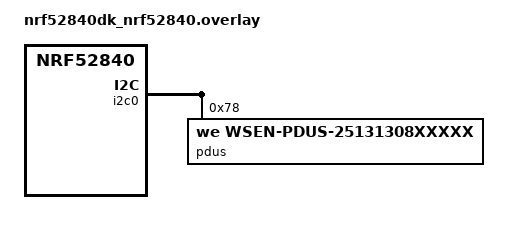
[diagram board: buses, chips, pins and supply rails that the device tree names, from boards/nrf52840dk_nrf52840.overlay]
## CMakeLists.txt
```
# SPDX-License-Identifier: Apache-2.0

cmake_minimum_required(VERSION 3.20.0)
find_package(Zephyr REQUIRED HINTS $ENV{ZEPHYR_BASE})
project(wsen_pdus_25131308XXX01)

target_sources(app PRIVATE src/main.c)
```

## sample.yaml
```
sample:
  name: WSEN-PDUS-25131308XXXXX Sensor Sample
tests:
  sample.sensor.wsen-PDUS-25131308XXXXX:
    harness: sensor
    tags: sensors
    depends_on: i2c gpio
    filter: dt_compat_enabled("we,wsen-pdus-25131308XXXXX")
```

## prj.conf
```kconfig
CONFIG_PRINTK=y
CONFIG_I2C=y
CONFIG_SENSOR=y
CONFIG_CBPRINTF_FP_SUPPORT=y

CONFIG_LOG=y
CONFIG_LOG_MODE_MINIMAL=y
CONFIG_ASSERT=y
```

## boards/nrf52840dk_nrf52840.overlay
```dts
&i2c0 {
	pdus:pdus-25131308XXXXX@78 {
		compatible = "we,wsen-pdus-25131308XXXXX";
		reg = < 0x78 >;
		sensor-type = < 4 >;
	};
};
```

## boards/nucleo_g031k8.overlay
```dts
&i2c1 {
	pdus:pdus-25131308XXXXX@78 {
		compatible = "we,wsen-pdus-25131308XXXXX";
		reg = < 0x78 >;
		sensor-type = < 4 >;
	};
};
```

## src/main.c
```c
/*
 * Copyright (c) 2023 Würth Elektronik eiSos GmbH & Co. KG
 *
 * SPDX-License-Identifier: Apache-2.0
 */

#include <zephyr/kernel.h>

#include <zephyr/sys/printk.h>
#include <zephyr/sys_clock.h>
#include <stdio.h>

#include <zephyr/device.h>
#include <zephyr/drivers/sensor.h>
#include <zephyr/drivers/i2c.h>
#include <zephyr/logging/log.h>

LOG_MODULE_REGISTER(MAIN);

#define MAX_TEST_TIME 50000
#define SLEEPTIME     500

static void process_sample(const struct device *pdus_25131308XXXXX)
{
	struct sensor_value temp_value;
	struct sensor_value press_value;

	if (sensor_sample_fetch(pdus_25131308XXXXX) < 0) {
		LOG_INF("sample update error.\n");
		return;
	}

	if (sensor_channel_get(pdus_25131308XXXXX, SENSOR_CHAN_AMBIENT_TEMP, &temp_value) < 0) {
		LOG_ERR("Temperature channel read error.\n");
		return;
	}

	if (sensor_channel_get(pdus_25131308XXXXX, SENSOR_CHAN_PRESS, &press_value) < 0) {
		LOG_ERR("Pressure channel read error.\n");
		return;
	}

	LOG_INF("Temperature (Celsius): %f\n", sensor_value_to_double(&temp_value));

	LOG_INF("Pressure (kPa): %f\n", sensor_value_to_double(&press_value));
}

int main(void)
{
	const struct device *const pdus_25131308XXXXX = DEVICE_DT_GET(DT_NODELABEL(pdus));

	if (!device_is_ready(pdus_25131308XXXXX)) {
		LOG_ERR("sensor: device not ready.\n");
		return 0;
	}

	k_sleep(K_MSEC(SLEEPTIME));

	int32_t remaining_test_time = MAX_TEST_TIME;
	
	do {
		process_sample(pdus_25131308XXXXX);

		/* wait a while */
		k_sleep(K_MSEC(SLEEPTIME));

		remaining_test_time -= SLEEPTIME;
	} while (remaining_test_time > 0);

	k_sleep(K_FOREVER);
	return 0;
}
```
